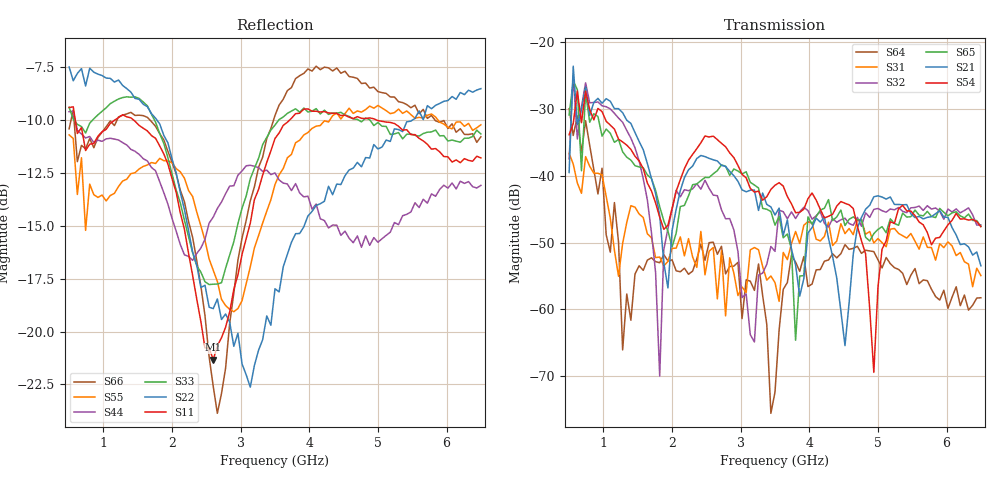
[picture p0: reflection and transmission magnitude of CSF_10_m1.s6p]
!Keysight Technologies,M9804A,MY58100912,A.14.10.03
!Date: Thursday, April 27, 2023 10:28:33
!Correction: S11(C  6-Port  )
!S12(C  6-Port  )
!S13(C  6-Port  )
!S14(C  6-Port  )
!S15(C  6-Port  )
!S16(C  6-Port  )
!S21(C  6-Port  )
!S22(C  6-Port  )
!S23(C  6-Port  )
!S24(C  6-Port  )
!S25(C  6-Port  )
!S26(C  6-Port  )
!S31(C  6-Port  )
!S32(C  6-Port  )
!S33(C  6-Port  )
!S34(C  6-Port  )
!S35(C  6-Port  )
!S36(C  6-Port  )
!S41(C  6-Port  )
!S42(C  6-Port  )
!S43(C  6-Port  )
!S44(C  6-Port  )
!S45(C  6-Port  )
!S46(C  6-Port  )
!S51(C  6-Port  )
!S52(C  6-Port  )
!S53(C  6-Port  )
!S54(C  6-Port  )
!S55(C  6-Port  )
!S56(C  6-Port  )
!S61(C  6-Port  )
!S62(C  6-Port  )
!S63(C  6-Port  )
!S64(C  6-Port  )
!S65(C  6-Port  )
!S66(C  6-Port  )
!S6P File: Measurement: :
# Hz S  RI  R 50
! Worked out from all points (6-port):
!   101 points, 500 MHz to 6.5 GHz, reference 50 ohm
!   strongest paths, dB at 500 MHz, 2 GHz, 3.5 GHz, 5 GHz, 6.5 GHz:
!     S54: -33.8, -44.9, -41.4, -56.7, -47.6
!     S21: -39.5, -48.2, -45.9, -43.0, -53.5
!     S65: -30.9, -50.6, -47.4, -48.0, -47.6
!     S32: -37.4, -45.1, -51.3, -44.9, -47.4
!     S31: -36.6, -50.9, -56.0, -49.4, -54.9
!     S64: -29.9, -52.6, -72.4, -52.6, -58.3
!   lowest |S11| = -21.3 dB at 2.6 GHz (marker M1), VSWR 1.19, Z = 42.4 + j2.23 ohm
!   |S11| at or under -10 dB: 589.6 MHz to 1.167 GHz (577.9 MHz wide, 65.8 % of centre); 1.439 GHz to 3.714 GHz (2.275 GHz wide, 88.3 % of centre); 4.98 GHz to end of sweep
